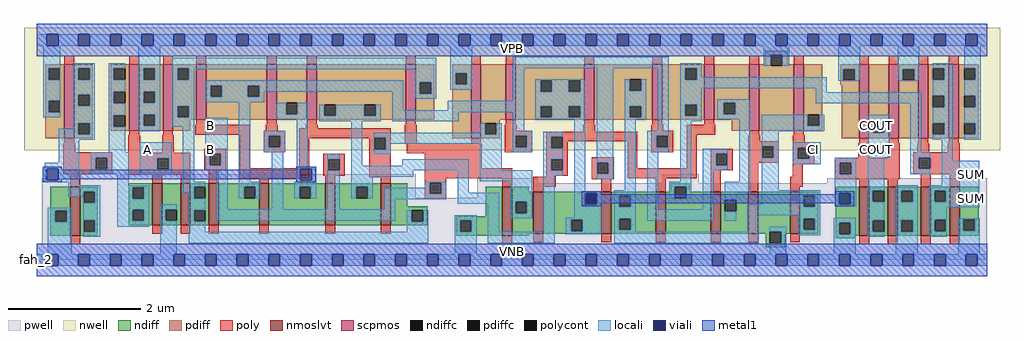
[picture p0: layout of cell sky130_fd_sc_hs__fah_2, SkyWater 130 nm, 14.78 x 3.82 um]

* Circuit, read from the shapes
.subckt sky130_fd_sc_hs__fah_2 A B CI VGND VNB VPB VPWR COUT SUM
XM1 n1 n2 VGND VNB sky130_fd_pr__nfet_01v8_lvt w=0.74 l=0.15
XM2 VGND A n2 VNB sky130_fd_pr__nfet_01v8_lvt w=0.64 l=0.15
XM3 n3 A VGND VNB sky130_fd_pr__nfet_01v8_lvt w=0.64 l=0.15
XM4 n4 B n3 VNB sky130_fd_pr__nfet_01v8_lvt w=0.64 l=0.15
XM5 n1 n5 n4 VNB sky130_fd_pr__nfet_01v8_lvt w=0.64 l=0.15
XM6 n6 B n1 VNB sky130_fd_pr__nfet_01v8_lvt w=0.64 l=0.15
XM7 n3 n5 n6 VNB sky130_fd_pr__nfet_01v8_lvt w=0.64 l=0.15
XM8 n5 B VGND VNB sky130_fd_pr__nfet_01v8_lvt w=0.74 l=0.15
XM9 n7 n6 n5 VNB sky130_fd_pr__nfet_01v8_lvt w=0.64 l=0.15
XM10 n8 n4 n7 VNB sky130_fd_pr__nfet_01v8_lvt w=0.64 l=0.15
XM11 n9 n6 n8 VNB sky130_fd_pr__nfet_01v8_lvt w=0.64 l=0.15
XM12 n10 n4 n9 VNB sky130_fd_pr__nfet_01v8_lvt w=0.64 l=0.15
XM13 VGND n8 n10 VNB sky130_fd_pr__nfet_01v8_lvt w=0.64 l=0.15
XM14 n8 CI VGND VNB sky130_fd_pr__nfet_01v8_lvt w=0.64 l=0.15
XM15 COUT n7 VGND VNB sky130_fd_pr__nfet_01v8_lvt w=0.74 l=0.15 m=2
XM16 SUM n9 VGND VNB sky130_fd_pr__nfet_01v8_lvt w=0.74 l=0.15 m=2
XM17 n1 n2 VPWR VPB sky130_fd_pr__pfet_01v8 w=1.12 l=0.15
XM18 VPWR A n2 VPB sky130_fd_pr__pfet_01v8 w=1 l=0.15
XM19 n3 A VPWR VPB sky130_fd_pr__pfet_01v8 w=1 l=0.15
XM20 n4 n5 n3 VPB sky130_fd_pr__pfet_01v8 w=0.84 l=0.15
XM21 n1 B n4 VPB sky130_fd_pr__pfet_01v8 w=0.84 l=0.15
XM22 n6 n5 n1 VPB sky130_fd_pr__pfet_01v8 w=0.84 l=0.15
XM23 n3 B n6 VPB sky130_fd_pr__pfet_01v8 w=0.84 l=0.15
XM24 n5 B VPWR VPB sky130_fd_pr__pfet_01v8 w=1.12 l=0.15
XM25 n7 n4 n5 VPB sky130_fd_pr__pfet_01v8 w=0.84 l=0.15
XM26 n8 n6 n7 VPB sky130_fd_pr__pfet_01v8 w=0.84 l=0.15
XM27 n9 n4 n8 VPB sky130_fd_pr__pfet_01v8 w=0.84 l=0.15
XM28 n10 n6 n9 VPB sky130_fd_pr__pfet_01v8 w=0.84 l=0.15
XM29 VPWR n8 n10 VPB sky130_fd_pr__pfet_01v8 w=1 l=0.15
XM30 n8 CI VPWR VPB sky130_fd_pr__pfet_01v8 w=1 l=0.15
XM31 COUT n7 VPWR VPB sky130_fd_pr__pfet_01v8 w=1.12 l=0.15 m=2
XM32 SUM n9 VPWR VPB sky130_fd_pr__pfet_01v8 w=1.12 l=0.15 m=2
.ends

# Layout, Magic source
magic
tech sky130A
magscale 1 2
<< nwell >>
rect -38 332 2918 704
<< pwell >>
rect 253 248 1149 259
rect 16 188 1149 248
rect 1334 233 1516 248
rect 1895 233 2005 259
rect 2395 233 2879 248
rect 1334 188 2879 233
rect 16 49 2879 188
rect 0 0 2880 49
<< scpmos >>
rect 84 368 114 592
rect 281 392 311 592
rect 383 392 413 592
rect 484 424 514 592
rect 697 424 727 592
rect 819 424 849 592
rect 1118 424 1148 592
rect 1316 368 1346 592
rect 1421 424 1451 592
rect 1659 424 1689 592
rect 1865 424 1895 592
rect 2022 424 2052 592
rect 2159 392 2189 592
rect 2293 392 2323 592
rect 2491 368 2521 592
rect 2581 368 2611 592
rect 2671 368 2701 592
rect 2763 368 2793 592
<< nmoslvt >>
rect 102 74 132 222
rect 350 105 380 233
rect 436 105 466 233
rect 522 105 552 233
rect 674 105 704 233
rect 874 105 904 233
rect 1043 105 1073 233
rect 1410 74 1440 222
rect 1505 79 1535 207
rect 1710 79 1740 207
rect 1876 79 1906 207
rect 2042 79 2072 207
rect 2156 79 2186 207
rect 2282 79 2312 207
rect 2492 74 2522 222
rect 2578 74 2608 222
rect 2678 74 2708 222
rect 2766 74 2796 222
<< ndiff >>
rect 42 149 102 222
rect 42 115 57 149
rect 91 115 102 149
rect 42 74 102 115
rect 132 207 185 222
rect 132 173 143 207
rect 177 173 185 207
rect 132 120 185 173
rect 132 86 143 120
rect 177 86 185 120
rect 279 220 350 233
rect 279 186 291 220
rect 325 186 350 220
rect 279 152 350 186
rect 279 118 291 152
rect 325 118 350 152
rect 279 105 350 118
rect 380 152 436 233
rect 380 118 391 152
rect 425 118 436 152
rect 380 105 436 118
rect 466 221 522 233
rect 466 187 477 221
rect 511 187 522 221
rect 466 151 522 187
rect 466 117 477 151
rect 511 117 522 151
rect 466 105 522 117
rect 552 221 674 233
rect 552 187 629 221
rect 663 187 674 221
rect 552 105 674 187
rect 704 221 874 233
rect 704 187 797 221
rect 831 187 874 221
rect 704 105 874 187
rect 904 221 1043 233
rect 904 187 969 221
rect 1003 187 1043 221
rect 904 105 1043 187
rect 1073 162 1123 233
rect 1073 150 1183 162
rect 1073 116 1137 150
rect 1171 116 1183 150
rect 1360 132 1410 222
rect 1073 105 1183 116
rect 1271 120 1410 132
rect 132 74 185 86
rect 1271 86 1283 120
rect 1317 86 1410 120
rect 1271 74 1410 86
rect 1440 207 1490 222
rect 1921 221 1979 233
rect 1921 207 1933 221
rect 1440 176 1505 207
rect 1440 142 1451 176
rect 1485 142 1505 176
rect 1440 79 1505 142
rect 1535 199 1710 207
rect 1535 165 1661 199
rect 1695 165 1710 199
rect 1535 121 1710 165
rect 1535 87 1619 121
rect 1653 87 1710 121
rect 1535 79 1710 87
rect 1740 195 1876 207
rect 1740 161 1765 195
rect 1799 161 1876 195
rect 1740 125 1876 161
rect 1740 91 1765 125
rect 1799 91 1876 125
rect 1740 79 1876 91
rect 1906 187 1933 207
rect 1967 207 1979 221
rect 1967 187 2042 207
rect 1906 79 2042 187
rect 2072 182 2156 207
rect 2072 148 2085 182
rect 2119 148 2156 182
rect 2072 79 2156 148
rect 2186 85 2282 207
rect 2186 79 2221 85
rect 1440 74 1490 79
rect 2209 51 2221 79
rect 2255 79 2282 85
rect 2312 195 2367 207
rect 2312 161 2323 195
rect 2357 161 2367 195
rect 2312 125 2367 161
rect 2312 91 2323 125
rect 2357 91 2367 125
rect 2312 79 2367 91
rect 2421 112 2492 222
rect 2255 51 2267 79
rect 2421 78 2431 112
rect 2465 78 2492 112
rect 2421 74 2492 78
rect 2522 210 2578 222
rect 2522 176 2533 210
rect 2567 176 2578 210
rect 2522 120 2578 176
rect 2522 86 2533 120
rect 2567 86 2578 120
rect 2522 74 2578 86
rect 2608 210 2678 222
rect 2608 176 2619 210
rect 2653 176 2678 210
rect 2608 120 2678 176
rect 2608 86 2619 120
rect 2653 86 2678 120
rect 2608 74 2678 86
rect 2708 210 2766 222
rect 2708 176 2720 210
rect 2754 176 2766 210
rect 2708 121 2766 176
rect 2708 87 2720 121
rect 2754 87 2766 121
rect 2708 74 2766 87
rect 2796 123 2853 222
rect 2796 89 2807 123
rect 2841 89 2853 123
rect 2796 74 2853 89
rect 2421 66 2477 74
rect 2209 39 2267 51
<< pdiff >>
rect 2207 622 2275 634
rect 2207 592 2224 622
rect 27 580 84 592
rect 27 546 37 580
rect 71 546 84 580
rect 27 482 84 546
rect 27 448 37 482
rect 71 448 84 482
rect 27 368 84 448
rect 114 580 170 592
rect 114 546 127 580
rect 161 546 170 580
rect 114 501 170 546
rect 114 467 127 501
rect 161 467 170 501
rect 114 414 170 467
rect 114 380 127 414
rect 161 380 170 414
rect 224 580 281 592
rect 224 546 234 580
rect 268 546 281 580
rect 224 509 281 546
rect 224 475 234 509
rect 268 475 281 509
rect 224 438 281 475
rect 224 404 234 438
rect 268 404 281 438
rect 224 392 281 404
rect 311 580 383 592
rect 311 546 324 580
rect 358 546 383 580
rect 311 510 383 546
rect 311 476 324 510
rect 358 476 383 510
rect 311 440 383 476
rect 311 406 324 440
rect 358 406 383 440
rect 311 392 383 406
rect 413 580 484 592
rect 413 546 427 580
rect 461 546 484 580
rect 413 466 484 546
rect 413 432 427 466
rect 461 432 484 466
rect 413 424 484 432
rect 514 528 697 592
rect 514 494 527 528
rect 561 494 640 528
rect 674 494 697 528
rect 514 424 697 494
rect 727 476 819 592
rect 727 442 756 476
rect 790 442 819 476
rect 727 424 819 442
rect 849 470 1118 592
rect 849 436 872 470
rect 906 436 993 470
rect 1027 436 1118 470
rect 849 424 1118 436
rect 1148 538 1205 592
rect 1148 504 1161 538
rect 1195 504 1205 538
rect 1148 424 1205 504
rect 1259 566 1316 592
rect 1259 532 1269 566
rect 1303 532 1316 566
rect 413 392 466 424
rect 114 368 170 380
rect 1259 368 1316 532
rect 1346 424 1421 592
rect 1451 544 1659 592
rect 1451 510 1527 544
rect 1561 510 1612 544
rect 1646 510 1659 544
rect 1451 466 1659 510
rect 1451 432 1527 466
rect 1561 432 1612 466
rect 1646 432 1659 466
rect 1451 424 1659 432
rect 1689 547 1865 592
rect 1689 513 1797 547
rect 1831 513 1865 547
rect 1689 466 1865 513
rect 1689 432 1797 466
rect 1831 432 1865 466
rect 1689 424 1865 432
rect 1895 580 2022 592
rect 1895 546 1965 580
rect 1999 546 2022 580
rect 1895 470 2022 546
rect 1895 436 1965 470
rect 1999 436 2022 470
rect 1895 424 2022 436
rect 2052 476 2159 592
rect 2052 442 2082 476
rect 2116 442 2159 476
rect 2052 424 2159 442
rect 1346 414 1403 424
rect 1346 380 1359 414
rect 1393 380 1403 414
rect 1346 368 1403 380
rect 2106 392 2159 424
rect 2189 588 2224 592
rect 2258 592 2275 622
rect 2258 588 2293 592
rect 2189 392 2293 588
rect 2323 440 2380 592
rect 2434 578 2491 592
rect 2434 544 2444 578
rect 2478 544 2491 578
rect 2434 530 2491 544
rect 2323 406 2336 440
rect 2370 406 2380 440
rect 2323 392 2380 406
rect 2438 368 2491 530
rect 2521 419 2581 592
rect 2521 385 2534 419
rect 2568 385 2581 419
rect 2521 368 2581 385
rect 2611 578 2671 592
rect 2611 544 2624 578
rect 2658 544 2671 578
rect 2611 368 2671 544
rect 2701 580 2763 592
rect 2701 546 2715 580
rect 2749 546 2763 580
rect 2701 497 2763 546
rect 2701 463 2715 497
rect 2749 463 2763 497
rect 2701 414 2763 463
rect 2701 380 2715 414
rect 2749 380 2763 414
rect 2701 368 2763 380
rect 2793 580 2853 592
rect 2793 546 2809 580
rect 2843 546 2853 580
rect 2793 497 2853 546
rect 2793 463 2809 497
rect 2843 463 2853 497
rect 2793 414 2853 463
rect 2793 380 2809 414
rect 2843 380 2853 414
rect 2793 368 2853 380
<< ndiffc >>
rect 57 115 91 149
rect 143 173 177 207
rect 143 86 177 120
rect 291 186 325 220
rect 291 118 325 152
rect 391 118 425 152
rect 477 187 511 221
rect 477 117 511 151
rect 629 187 663 221
rect 797 187 831 221
rect 969 187 1003 221
rect 1137 116 1171 150
rect 1283 86 1317 120
rect 1451 142 1485 176
rect 1661 165 1695 199
rect 1619 87 1653 121
rect 1765 161 1799 195
rect 1765 91 1799 125
rect 1933 187 1967 221
rect 2085 148 2119 182
rect 2221 51 2255 85
rect 2323 161 2357 195
rect 2323 91 2357 125
rect 2431 78 2465 112
rect 2533 176 2567 210
rect 2533 86 2567 120
rect 2619 176 2653 210
rect 2619 86 2653 120
rect 2720 176 2754 210
rect 2720 87 2754 121
rect 2807 89 2841 123
<< pdiffc >>
rect 37 546 71 580
rect 37 448 71 482
rect 127 546 161 580
rect 127 467 161 501
rect 127 380 161 414
rect 234 546 268 580
rect 234 475 268 509
rect 234 404 268 438
rect 324 546 358 580
rect 324 476 358 510
rect 324 406 358 440
rect 427 546 461 580
rect 427 432 461 466
rect 527 494 561 528
rect 640 494 674 528
rect 756 442 790 476
rect 872 436 906 470
rect 993 436 1027 470
rect 1161 504 1195 538
rect 1269 532 1303 566
rect 1527 510 1561 544
rect 1612 510 1646 544
rect 1527 432 1561 466
rect 1612 432 1646 466
rect 1797 513 1831 547
rect 1797 432 1831 466
rect 1965 546 1999 580
rect 1965 436 1999 470
rect 2082 442 2116 476
rect 1359 380 1393 414
rect 2224 588 2258 622
rect 2444 544 2478 578
rect 2336 406 2370 440
rect 2534 385 2568 419
rect 2624 544 2658 578
rect 2715 546 2749 580
rect 2715 463 2749 497
rect 2715 380 2749 414
rect 2809 546 2843 580
rect 2809 463 2843 497
rect 2809 380 2843 414
<< poly >>
rect 84 592 114 618
rect 281 592 311 618
rect 383 592 413 618
rect 484 592 514 618
rect 697 592 727 618
rect 819 592 849 618
rect 1118 592 1148 618
rect 1316 592 1346 618
rect 1421 592 1451 618
rect 1659 592 1689 618
rect 1865 592 1895 618
rect 2022 592 2052 618
rect 2159 592 2189 618
rect 484 409 514 424
rect 697 409 727 424
rect 819 409 849 424
rect 1118 409 1148 424
rect 281 377 311 392
rect 383 377 413 392
rect 481 379 646 409
rect 694 392 730 409
rect 816 399 852 409
rect 84 353 114 368
rect 81 326 117 353
rect 81 310 230 326
rect 81 276 180 310
rect 214 276 230 310
rect 81 260 230 276
rect 278 324 314 377
rect 380 324 416 377
rect 278 308 466 324
rect 278 274 366 308
rect 400 274 466 308
rect 102 222 132 260
rect 278 258 466 274
rect 508 321 574 337
rect 508 287 524 321
rect 558 287 574 321
rect 508 271 574 287
rect 616 278 646 379
rect 688 376 754 392
rect 688 342 704 376
rect 738 342 754 376
rect 688 326 754 342
rect 796 370 1073 399
rect 796 369 1023 370
rect 796 278 826 369
rect 1007 336 1023 369
rect 1057 336 1073 370
rect 1115 353 1151 409
rect 1421 409 1451 424
rect 1659 409 1689 424
rect 1865 409 1895 424
rect 2022 409 2052 424
rect 1418 392 1454 409
rect 1418 376 1501 392
rect 1656 389 1692 409
rect 1862 392 1898 409
rect 1316 353 1346 368
rect 350 233 380 258
rect 436 233 466 258
rect 522 233 552 271
rect 616 248 826 278
rect 868 305 934 321
rect 868 271 884 305
rect 918 271 934 305
rect 868 255 934 271
rect 674 233 704 248
rect 874 233 904 255
rect 1007 251 1073 336
rect 1121 323 1349 353
rect 1418 342 1451 376
rect 1485 342 1501 376
rect 1418 326 1501 342
rect 1543 373 1820 389
rect 1543 339 1559 373
rect 1593 359 1820 373
rect 1593 339 1609 359
rect 1043 233 1073 251
rect 1175 278 1349 323
rect 1543 305 1609 339
rect 1175 248 1440 278
rect 1543 271 1559 305
rect 1593 271 1609 305
rect 1543 255 1609 271
rect 1682 295 1748 311
rect 1682 261 1698 295
rect 1732 261 1748 295
rect 1543 252 1573 255
rect 1175 234 1241 248
rect 1175 200 1191 234
rect 1225 200 1241 234
rect 1410 222 1440 248
rect 1505 222 1573 252
rect 1682 245 1748 261
rect 1790 278 1820 359
rect 1862 376 1928 392
rect 1862 342 1878 376
rect 1912 342 1928 376
rect 1862 326 1928 342
rect 1970 379 2055 409
rect 2293 592 2323 618
rect 2491 592 2521 618
rect 2581 592 2611 618
rect 2671 592 2701 618
rect 2763 592 2793 618
rect 1970 278 2000 379
rect 2159 377 2189 392
rect 2293 377 2323 392
rect 2156 360 2192 377
rect 2156 344 2248 360
rect 1790 248 2000 278
rect 2042 321 2108 337
rect 2042 287 2058 321
rect 2092 287 2108 321
rect 2042 271 2108 287
rect 2156 310 2198 344
rect 2232 310 2248 344
rect 2156 294 2248 310
rect 2290 356 2326 377
rect 2290 340 2356 356
rect 2491 353 2521 368
rect 2581 353 2611 368
rect 2671 353 2701 368
rect 2763 353 2793 368
rect 2290 306 2306 340
rect 2340 306 2356 340
rect 2488 310 2524 353
rect 2578 310 2614 353
rect 2668 326 2704 353
rect 2760 326 2796 353
rect 1175 184 1241 200
rect 350 79 380 105
rect 436 79 466 105
rect 522 79 552 105
rect 674 79 704 105
rect 874 79 904 105
rect 1043 79 1073 105
rect 1505 207 1535 222
rect 1710 207 1740 245
rect 1876 207 1906 248
rect 2042 207 2072 271
rect 2156 207 2186 294
rect 2290 290 2356 306
rect 2417 294 2614 310
rect 2290 252 2320 290
rect 2282 222 2320 252
rect 2417 260 2433 294
rect 2467 260 2614 294
rect 2656 310 2796 326
rect 2656 276 2672 310
rect 2706 276 2796 310
rect 2656 260 2796 276
rect 2417 244 2614 260
rect 2492 222 2522 244
rect 2578 222 2608 244
rect 2678 222 2708 260
rect 2766 222 2796 260
rect 2282 207 2312 222
rect 102 48 132 74
rect 1410 48 1440 74
rect 1505 53 1535 79
rect 1710 53 1740 79
rect 1876 53 1906 79
rect 2042 53 2072 79
rect 2156 53 2186 79
rect 2282 53 2312 79
rect 2492 48 2522 74
rect 2578 48 2608 74
rect 2678 48 2708 74
rect 2766 48 2796 74
<< polycont >>
rect 180 276 214 310
rect 366 274 400 308
rect 524 287 558 321
rect 704 342 738 376
rect 1023 336 1057 370
rect 884 271 918 305
rect 1451 342 1485 376
rect 1559 339 1593 373
rect 1559 271 1593 305
rect 1698 261 1732 295
rect 1191 200 1225 234
rect 1878 342 1912 376
rect 2058 287 2092 321
rect 2198 310 2232 344
rect 2306 306 2340 340
rect 2433 260 2467 294
rect 2672 276 2706 310
<< locali >>
rect 0 649 31 683
rect 65 649 127 683
rect 161 649 223 683
rect 257 649 319 683
rect 353 649 415 683
rect 449 649 511 683
rect 545 649 607 683
rect 641 649 703 683
rect 737 649 799 683
rect 833 649 895 683
rect 929 649 991 683
rect 1025 649 1087 683
rect 1121 649 1183 683
rect 1217 649 1279 683
rect 1313 649 1375 683
rect 1409 649 1471 683
rect 1505 649 1567 683
rect 1601 649 1663 683
rect 1697 649 1759 683
rect 1793 649 1855 683
rect 1889 649 1951 683
rect 1985 649 2047 683
rect 2081 649 2143 683
rect 2177 649 2239 683
rect 2273 649 2335 683
rect 2369 649 2431 683
rect 2465 649 2527 683
rect 2561 649 2623 683
rect 2657 649 2719 683
rect 2753 649 2815 683
rect 2849 649 2880 683
rect 21 580 72 649
rect 21 546 37 580
rect 71 546 72 580
rect 21 482 72 546
rect 21 448 37 482
rect 71 448 72 482
rect 21 432 72 448
rect 111 580 177 596
rect 111 546 127 580
rect 161 546 177 580
rect 111 501 177 546
rect 111 467 127 501
rect 161 467 177 501
rect 111 414 177 467
rect 111 398 127 414
rect 67 380 127 398
rect 161 380 177 414
rect 67 364 177 380
rect 218 580 268 596
rect 218 546 234 580
rect 218 509 268 546
rect 218 475 234 509
rect 218 438 268 475
rect 218 404 234 438
rect 67 294 130 364
rect 218 326 268 404
rect 308 580 374 649
rect 308 546 324 580
rect 358 546 374 580
rect 308 510 374 546
rect 308 476 324 510
rect 358 476 374 510
rect 308 440 374 476
rect 308 406 324 440
rect 358 406 374 440
rect 308 390 374 406
rect 411 580 1211 612
rect 411 546 427 580
rect 461 578 1211 580
rect 461 546 477 578
rect 411 466 477 546
rect 511 528 1111 544
rect 511 494 527 528
rect 561 494 640 528
rect 674 510 1111 528
rect 674 494 690 510
rect 511 478 690 494
rect 411 432 427 466
rect 461 432 477 466
rect 411 403 477 432
rect 25 276 130 294
rect 25 242 31 276
rect 65 242 130 276
rect 164 310 279 326
rect 164 276 180 310
rect 214 276 279 310
rect 164 260 279 276
rect 25 236 130 242
rect 96 226 130 236
rect 96 207 193 226
rect 96 192 143 207
rect 141 173 143 192
rect 177 173 193 207
rect 34 149 107 158
rect 34 115 57 149
rect 91 115 107 149
rect 34 17 107 115
rect 141 120 193 173
rect 141 86 143 120
rect 177 86 193 120
rect 245 224 279 260
rect 313 308 409 356
rect 313 274 366 308
rect 400 274 409 308
rect 313 258 409 274
rect 443 237 477 403
rect 511 321 579 430
rect 511 287 524 321
rect 558 287 579 321
rect 511 271 579 287
rect 245 220 341 224
rect 245 186 291 220
rect 325 186 341 220
rect 443 221 511 237
rect 443 203 477 221
rect 245 152 341 186
rect 461 187 477 203
rect 245 118 291 152
rect 325 118 341 152
rect 245 101 341 118
rect 375 152 425 169
rect 375 118 391 152
rect 141 70 193 86
rect 375 17 425 118
rect 461 151 511 187
rect 461 117 477 151
rect 545 153 579 271
rect 613 237 647 478
rect 724 442 756 476
rect 790 442 822 476
rect 724 426 822 442
rect 688 376 754 392
rect 688 342 704 376
rect 738 342 754 376
rect 688 326 754 342
rect 613 221 679 237
rect 613 187 629 221
rect 663 187 679 221
rect 713 153 747 326
rect 788 282 822 426
rect 856 436 872 470
rect 906 436 993 470
rect 1027 436 1043 470
rect 856 420 1043 436
rect 1077 454 1111 510
rect 1145 538 1211 578
rect 1145 504 1161 538
rect 1195 504 1211 538
rect 1253 566 1319 649
rect 2203 622 2279 649
rect 1253 532 1269 566
rect 1303 532 1319 566
rect 1253 516 1319 532
rect 1443 581 1915 615
rect 1145 488 1211 504
rect 1443 482 1477 581
rect 1245 454 1477 482
rect 1077 448 1477 454
rect 1077 420 1279 448
rect 881 305 919 321
rect 788 276 847 282
rect 788 242 799 276
rect 833 242 847 276
rect 788 237 847 242
rect 781 221 847 237
rect 781 187 797 221
rect 831 187 847 221
rect 881 271 884 305
rect 918 271 919 305
rect 881 153 919 271
rect 953 286 987 420
rect 1343 386 1359 414
rect 1021 380 1359 386
rect 1393 380 1409 414
rect 1021 370 1409 380
rect 1021 336 1023 370
rect 1057 352 1409 370
rect 1057 336 1073 352
rect 1021 320 1073 336
rect 1107 286 1309 305
rect 953 271 1309 286
rect 953 252 1141 271
rect 953 221 1019 252
rect 953 187 969 221
rect 1003 187 1019 221
rect 1175 234 1241 237
rect 1175 218 1191 234
rect 1053 200 1191 218
rect 1225 200 1241 234
rect 1053 184 1241 200
rect 1275 204 1309 271
rect 1343 272 1409 352
rect 1443 392 1477 448
rect 1511 544 1662 547
rect 1511 510 1527 544
rect 1561 510 1612 544
rect 1646 510 1662 544
rect 1511 466 1662 510
rect 1511 432 1527 466
rect 1561 432 1612 466
rect 1646 432 1662 466
rect 1511 426 1662 432
rect 1443 376 1501 392
rect 1443 342 1451 376
rect 1485 342 1501 376
rect 1443 326 1501 342
rect 1535 373 1594 389
rect 1535 339 1559 373
rect 1593 339 1594 373
rect 1535 305 1594 339
rect 1343 238 1501 272
rect 1053 153 1087 184
rect 1275 170 1401 204
rect 545 119 1087 153
rect 461 85 511 117
rect 1121 116 1137 150
rect 1171 116 1187 150
rect 1121 85 1187 116
rect 461 51 1187 85
rect 1267 120 1333 136
rect 1267 86 1283 120
rect 1317 86 1333 120
rect 1267 17 1333 86
rect 1367 85 1401 170
rect 1435 176 1501 238
rect 1435 142 1451 176
rect 1485 142 1501 176
rect 1435 126 1501 142
rect 1535 271 1559 305
rect 1593 271 1594 305
rect 1535 255 1594 271
rect 1535 85 1569 255
rect 1628 208 1662 426
rect 1696 295 1747 581
rect 1696 261 1698 295
rect 1732 261 1747 295
rect 1696 245 1747 261
rect 1781 513 1797 547
rect 1831 513 1847 547
rect 1781 466 1847 513
rect 1781 432 1797 466
rect 1831 432 1847 466
rect 1781 426 1847 432
rect 1781 211 1815 426
rect 1881 392 1915 581
rect 1628 202 1711 208
rect 1628 199 1663 202
rect 1628 165 1661 199
rect 1697 168 1711 202
rect 1695 165 1711 168
rect 1628 128 1711 165
rect 1367 51 1569 85
rect 1603 121 1711 128
rect 1603 87 1619 121
rect 1653 87 1711 121
rect 1603 78 1711 87
rect 1749 195 1815 211
rect 1749 161 1765 195
rect 1799 161 1815 195
rect 1749 125 1815 161
rect 1749 91 1765 125
rect 1799 91 1815 125
rect 1849 376 1915 392
rect 1849 342 1878 376
rect 1912 342 1915 376
rect 1849 326 1915 342
rect 1949 580 2015 596
rect 2203 588 2224 622
rect 2258 588 2279 622
rect 1949 546 1965 580
rect 1999 554 2015 580
rect 2428 578 2494 649
rect 1999 546 2394 554
rect 1949 520 2394 546
rect 2428 544 2444 578
rect 2478 544 2494 578
rect 2428 542 2494 544
rect 2608 578 2674 649
rect 2608 544 2624 578
rect 2658 544 2674 578
rect 2608 542 2674 544
rect 2714 580 2775 596
rect 2714 546 2715 580
rect 2749 546 2775 580
rect 1949 470 2015 520
rect 2360 508 2394 520
rect 1949 436 1965 470
rect 1999 436 2015 470
rect 1949 420 2015 436
rect 2062 476 2162 486
rect 2062 442 2082 476
rect 2116 442 2162 476
rect 2360 474 2680 508
rect 2062 426 2162 442
rect 1849 153 1883 326
rect 1949 237 1983 420
rect 1917 221 1983 237
rect 1917 187 1933 221
rect 1967 187 1983 221
rect 2017 321 2094 337
rect 2017 287 2058 321
rect 2092 287 2094 321
rect 2017 271 2094 287
rect 2017 153 2051 271
rect 2128 237 2162 426
rect 1849 119 2051 153
rect 2085 203 2162 237
rect 2196 406 2336 440
rect 2370 406 2386 440
rect 2196 390 2386 406
rect 2517 419 2584 440
rect 2196 344 2248 390
rect 2517 385 2534 419
rect 2568 385 2584 419
rect 2196 310 2198 344
rect 2232 310 2248 344
rect 2196 211 2248 310
rect 2290 340 2375 356
rect 2290 306 2306 340
rect 2340 306 2375 340
rect 2517 310 2584 385
rect 2646 326 2680 474
rect 2714 497 2775 546
rect 2714 463 2715 497
rect 2749 463 2775 497
rect 2714 414 2775 463
rect 2714 380 2715 414
rect 2749 380 2775 414
rect 2714 364 2775 380
rect 2809 580 2859 649
rect 2843 546 2859 580
rect 2809 497 2859 546
rect 2843 463 2859 497
rect 2809 414 2859 463
rect 2843 380 2859 414
rect 2809 364 2859 380
rect 2646 310 2707 326
rect 2290 290 2375 306
rect 2417 294 2483 310
rect 2417 260 2433 294
rect 2467 260 2483 294
rect 2085 182 2119 203
rect 2196 195 2373 211
rect 2196 169 2323 195
rect 2085 119 2119 148
rect 2153 161 2323 169
rect 2357 161 2373 195
rect 2417 202 2483 260
rect 2417 168 2431 202
rect 2465 168 2483 202
rect 2417 162 2483 168
rect 2517 210 2567 310
rect 2646 276 2672 310
rect 2706 276 2707 310
rect 2646 260 2707 276
rect 2741 301 2775 364
rect 2741 226 2855 301
rect 2517 176 2533 210
rect 2153 135 2373 161
rect 1749 85 1815 91
rect 2153 85 2187 135
rect 2307 125 2373 135
rect 1749 51 2187 85
rect 2221 85 2271 101
rect 2255 51 2271 85
rect 2307 91 2323 125
rect 2357 91 2373 125
rect 2307 75 2373 91
rect 2415 112 2481 128
rect 2415 78 2431 112
rect 2465 78 2481 112
rect 2221 17 2271 51
rect 2415 17 2481 78
rect 2517 120 2567 176
rect 2517 86 2533 120
rect 2517 70 2567 86
rect 2603 210 2669 226
rect 2603 176 2619 210
rect 2653 176 2669 210
rect 2603 120 2669 176
rect 2603 86 2619 120
rect 2653 86 2669 120
rect 2603 17 2669 86
rect 2703 210 2855 226
rect 2703 176 2720 210
rect 2754 176 2855 210
rect 2703 160 2855 176
rect 2703 121 2757 160
rect 2703 87 2720 121
rect 2754 87 2757 121
rect 2703 71 2757 87
rect 2791 123 2857 126
rect 2791 89 2807 123
rect 2841 89 2857 123
rect 2791 17 2857 89
rect 0 -17 31 17
rect 65 -17 127 17
rect 161 -17 223 17
rect 257 -17 319 17
rect 353 -17 415 17
rect 449 -17 511 17
rect 545 -17 607 17
rect 641 -17 703 17
rect 737 -17 799 17
rect 833 -17 895 17
rect 929 -17 991 17
rect 1025 -17 1087 17
rect 1121 -17 1183 17
rect 1217 -17 1279 17
rect 1313 -17 1375 17
rect 1409 -17 1471 17
rect 1505 -17 1567 17
rect 1601 -17 1663 17
rect 1697 -17 1759 17
rect 1793 -17 1855 17
rect 1889 -17 1951 17
rect 1985 -17 2047 17
rect 2081 -17 2143 17
rect 2177 -17 2239 17
rect 2273 -17 2335 17
rect 2369 -17 2431 17
rect 2465 -17 2527 17
rect 2561 -17 2623 17
rect 2657 -17 2719 17
rect 2753 -17 2815 17
rect 2849 -17 2880 17
<< viali >>
rect 31 649 65 683
rect 127 649 161 683
rect 223 649 257 683
rect 319 649 353 683
rect 415 649 449 683
rect 511 649 545 683
rect 607 649 641 683
rect 703 649 737 683
rect 799 649 833 683
rect 895 649 929 683
rect 991 649 1025 683
rect 1087 649 1121 683
rect 1183 649 1217 683
rect 1279 649 1313 683
rect 1375 649 1409 683
rect 1471 649 1505 683
rect 1567 649 1601 683
rect 1663 649 1697 683
rect 1759 649 1793 683
rect 1855 649 1889 683
rect 1951 649 1985 683
rect 2047 649 2081 683
rect 2143 649 2177 683
rect 2239 649 2273 683
rect 2335 649 2369 683
rect 2431 649 2465 683
rect 2527 649 2561 683
rect 2623 649 2657 683
rect 2719 649 2753 683
rect 2815 649 2849 683
rect 31 242 65 276
rect 799 242 833 276
rect 1663 199 1697 202
rect 1663 168 1695 199
rect 1695 168 1697 199
rect 2431 168 2465 202
rect 31 -17 65 17
rect 127 -17 161 17
rect 223 -17 257 17
rect 319 -17 353 17
rect 415 -17 449 17
rect 511 -17 545 17
rect 607 -17 641 17
rect 703 -17 737 17
rect 799 -17 833 17
rect 895 -17 929 17
rect 991 -17 1025 17
rect 1087 -17 1121 17
rect 1183 -17 1217 17
rect 1279 -17 1313 17
rect 1375 -17 1409 17
rect 1471 -17 1505 17
rect 1567 -17 1601 17
rect 1663 -17 1697 17
rect 1759 -17 1793 17
rect 1855 -17 1889 17
rect 1951 -17 1985 17
rect 2047 -17 2081 17
rect 2143 -17 2177 17
rect 2239 -17 2273 17
rect 2335 -17 2369 17
rect 2431 -17 2465 17
rect 2527 -17 2561 17
rect 2623 -17 2657 17
rect 2719 -17 2753 17
rect 2815 -17 2849 17
<< metal1 >>
rect 0 683 2880 715
rect 0 649 31 683
rect 65 649 127 683
rect 161 649 223 683
rect 257 649 319 683
rect 353 649 415 683
rect 449 649 511 683
rect 545 649 607 683
rect 641 649 703 683
rect 737 649 799 683
rect 833 649 895 683
rect 929 649 991 683
rect 1025 649 1087 683
rect 1121 649 1183 683
rect 1217 649 1279 683
rect 1313 649 1375 683
rect 1409 649 1471 683
rect 1505 649 1567 683
rect 1601 649 1663 683
rect 1697 649 1759 683
rect 1793 649 1855 683
rect 1889 649 1951 683
rect 1985 649 2047 683
rect 2081 649 2143 683
rect 2177 649 2239 683
rect 2273 649 2335 683
rect 2369 649 2431 683
rect 2465 649 2527 683
rect 2561 649 2623 683
rect 2657 649 2719 683
rect 2753 649 2815 683
rect 2849 649 2880 683
rect 0 617 2880 649
rect 19 276 77 282
rect 19 242 31 276
rect 65 273 77 276
rect 787 276 845 282
rect 787 273 799 276
rect 65 245 799 273
rect 65 242 77 245
rect 19 236 77 242
rect 787 242 799 245
rect 833 242 845 276
rect 787 236 845 242
rect 1651 202 1709 208
rect 1651 168 1663 202
rect 1697 199 1709 202
rect 2419 202 2477 208
rect 2419 199 2431 202
rect 1697 171 2431 199
rect 1697 168 1709 171
rect 1651 162 1709 168
rect 2419 168 2431 171
rect 2465 168 2477 202
rect 2419 162 2477 168
rect 0 17 2880 49
rect 0 -17 31 17
rect 65 -17 127 17
rect 161 -17 223 17
rect 257 -17 319 17
rect 353 -17 415 17
rect 449 -17 511 17
rect 545 -17 607 17
rect 641 -17 703 17
rect 737 -17 799 17
rect 833 -17 895 17
rect 929 -17 991 17
rect 1025 -17 1087 17
rect 1121 -17 1183 17
rect 1217 -17 1279 17
rect 1313 -17 1375 17
rect 1409 -17 1471 17
rect 1505 -17 1567 17
rect 1601 -17 1663 17
rect 1697 -17 1759 17
rect 1793 -17 1855 17
rect 1889 -17 1951 17
rect 1985 -17 2047 17
rect 2081 -17 2143 17
rect 2177 -17 2239 17
rect 2273 -17 2335 17
rect 2369 -17 2431 17
rect 2465 -17 2527 17
rect 2561 -17 2623 17
rect 2657 -17 2719 17
rect 2753 -17 2815 17
rect 2849 -17 2880 17
rect 0 -49 2880 -17
<< labels >>
rlabel comment s 0 0 0 0 4 fah_2
flabel pwell s 0 0 2880 49 0 FreeSans 200 0 0 0 VNB
port 5 nsew ground bidirectional
flabel nwell s 0 617 2880 666 0 FreeSans 200 0 0 0 VPB
port 6 nsew power bidirectional
flabel metal1 s 0 617 2880 666 0 FreeSans 340 0 0 0 VPWR
port 7 nsew power bidirectional
flabel metal1 s 0 0 2880 49 0 FreeSans 340 0 0 0 VGND
port 4 nsew ground bidirectional
flabel locali s 319 316 353 350 0 FreeSans 340 0 0 0 A
port 1 nsew signal input
flabel locali s 2335 316 2369 350 0 FreeSans 340 0 0 0 CI
port 3 nsew signal input
flabel locali s 2815 168 2849 202 0 FreeSans 340 0 0 0 SUM
port 9 nsew signal output
flabel locali s 2815 242 2849 276 0 FreeSans 340 0 0 0 SUM
port 9 nsew signal output
flabel locali s 2527 316 2561 350 0 FreeSans 340 0 0 0 COUT
port 8 nsew signal output
flabel locali s 2527 390 2561 424 0 FreeSans 340 0 0 0 COUT
port 8 nsew signal output
flabel locali s 511 316 545 350 0 FreeSans 340 0 0 0 B
port 2 nsew signal input
flabel locali s 511 390 545 424 0 FreeSans 340 0 0 0 B
port 2 nsew signal input
<< properties >>
string LEFsite unit
string LEFclass CORE
string FIXED_BBOX 0 0 2880 666
string GDS_FILE $PDKPATH/libs.ref/sky130_fd_sc_hs/gds/sky130_fd_sc_hs.gds
string LEFsymmetry X Y
string GDS_END 3500180
string GDS_START 3480512
<< end >>
